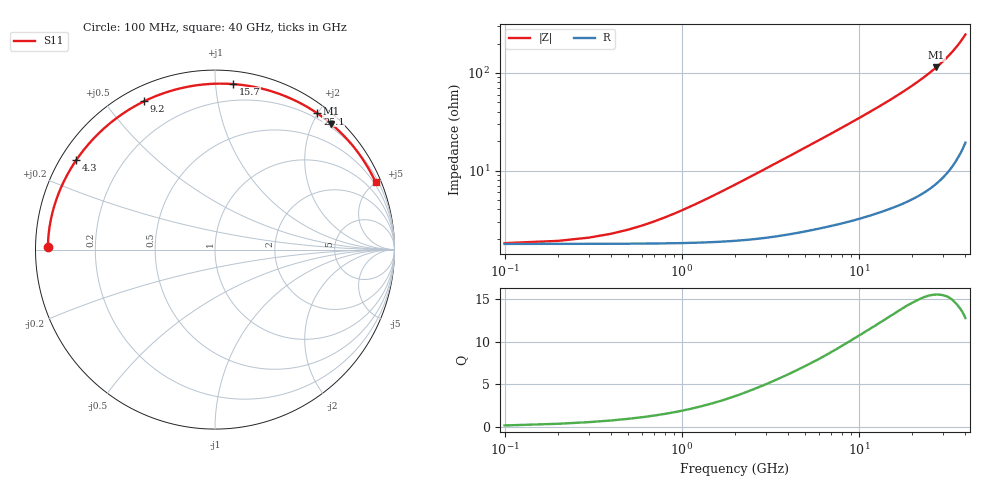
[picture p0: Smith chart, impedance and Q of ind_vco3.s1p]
#  Hz  S  RI  R  50
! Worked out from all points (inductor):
!   400 points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, 100 MHz to 40 GHz, reference 50 ohm
!   read as one part to ground: L = 549 pH near 1.7 GHz
!   highest Q = 15.5 at 27.4 GHz (marker M1), where L = 661 pH
!   S11 on the Smith chart (normalised r, x): 100 MHz: 0.04, +0.01; 4.3 GHz: 0.05, +0.29; 9.2 GHz: 0.06, +0.63; 15.7 GHz: 0.08, +1.11; 25.1 GHz: 0.13, +2.00; 40 GHz: 0.39, +4.94
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1e8  -0.9313 0.013
1e9  -0.9215 0.1287
2e9  -0.8928 0.2523
3.1e9  -0.8431 0.3779
4.3e9  -0.7723 0.4996
5.1e9  -0.7182 0.5715
6.1e9  -0.6447 0.6508
7.1e9  -0.5666 0.7187
8.1e9  -0.4857 0.7757
9.2e9  -0.3952 0.8261
1.01e10  -0.3212 0.8586
1.13e10  -0.2242 0.8906
1.25e10  -0.1302 0.9112
1.38e10  -0.033 0.9226
1.51e10  0.0586 0.9244
1.57e10  0.099 0.9224
1.79e10  0.236 0.9028
2.01e10  0.3558 0.8684
2.13e10  0.4143 0.8452
2.25e10  0.4682 0.8197
2.38e10  0.5219 0.79
2.51e10  0.5709 0.7587
2.74e10  0.6471 0.7007
3.01e10  0.7216 0.6305
3.25e10  0.7765 0.5675
3.51e10  0.8256 0.4997
3.75e10  0.8628 0.4384
4e10  0.8945 0.3756
